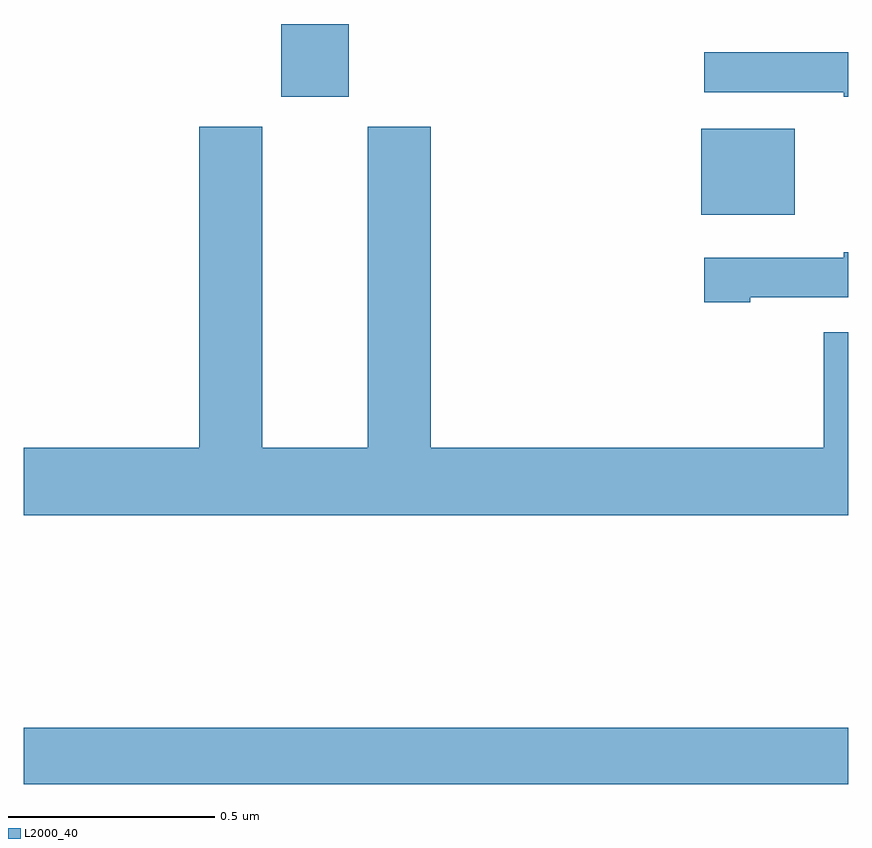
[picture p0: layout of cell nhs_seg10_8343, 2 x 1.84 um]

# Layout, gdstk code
import gdstk
lib = gdstk.Library(unit=1e-6, precision=1e-09)
def R(c, l, rs):  # rectangles x0, y0, x1, y1
    for r in rs: c.add(gdstk.rectangle(r[:2], r[2:], *l))
def P(c, l, *ps):  # polygons
    for p in ps: c.add(gdstk.Polygon(p, *l))
L2000_40 = (2000, 40)

nhs_seg10_8343 = lib.new_cell('nhs_seg10_8343')
R(nhs_seg10_8343, L2000_40, [(215,1307.656,217,1307.792), (216.644,1309.037,216.871,1309.246), (215.624,1309.323,215.788,1309.5)])
P(nhs_seg10_8343, L2000_40, [(217,1309.431),(216.651,1309.431),(216.651,1309.335),(216.989,1309.335),(216.989,1309.323),(217,1309.323)],
  [(217,1308.752),(216.941,1308.752),(216.941,1308.472),(215.987,1308.472),(215.987,1309.251),(215.834,1309.251),(215.834,1308.472),(215.578,1308.472),(215.578,1309.251),(215.426,1309.251),(215.426,1308.472),(215,1308.472),(215,1308.308),(217,1308.308)],
  [(216.763,1308.837),(217,1308.837),(217,1308.946),(216.989,1308.946),(216.989,1308.933),(216.651,1308.933),(216.651,1308.825),(216.763,1308.825)])

lib.write_gds('nhs_seg10_8343.gds')
